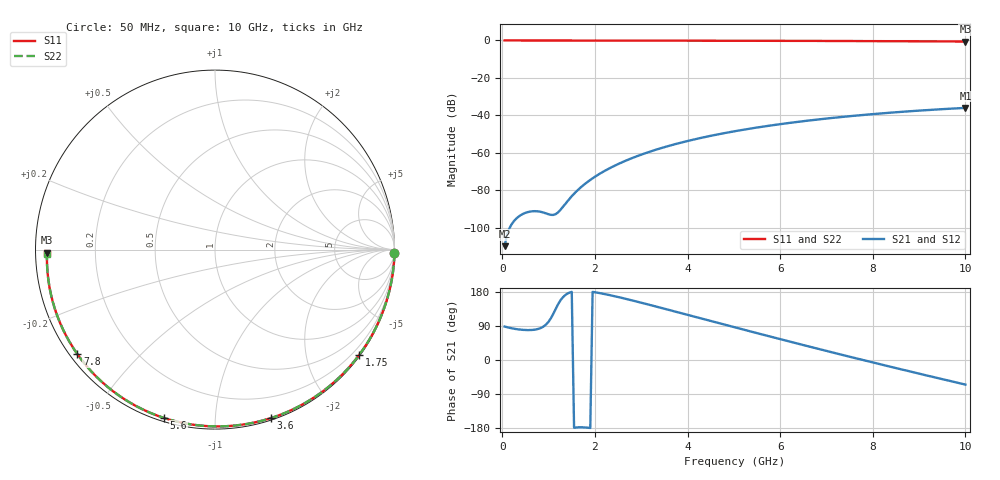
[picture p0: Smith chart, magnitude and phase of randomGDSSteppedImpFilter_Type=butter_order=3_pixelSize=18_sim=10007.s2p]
! freq	dB(S11)	phase(S11)	dB(S12)	phase(S12)
!  dB(S21)	phase(S21)	dB(S22)	phase(S22)
!S-par simulation data
#  GHz  S  DB  R 50
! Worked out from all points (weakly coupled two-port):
!   200 points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, 50 MHz to 10 GHz, reference 50 ohm
!   highest |S21| = -35.98 dB at 10 GHz (marker M1); lowest = -109.8 dB at 50 MHz (marker M2)
!   lowest |S11| = -0.6 dB at 10 GHz (marker M3), VSWR 30.37, Z = 1.65 - j0.48 ohm
!   |S11| at or under -10 dB: nowhere
!   |S22| runs from -0.6 to 0.0 dB; largest |S21 - S12| = 0
!   S11 on the Smith chart (normalised r, x): 50 MHz: open; 1.75 GHz: 0.03, -3.07; 3.6 GHz: 0.02, -1.38; 5.6 GHz: 0.02, -0.74; 7.8 GHz: 0.02, -0.34; 10 GHz: 0.03, -0.01
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0.05  -0.00 -1.1  -109.76 88.3  -109.76 88.3  -0.00 -1.1
0.4  -0.01 -8.4  -93.18 80.0  -93.18 80.0  -0.01 -8.4
0.8  -0.02 -16.7  -91.29 82.9  -91.29 82.9  -0.02 -16.7
1.6  -0.04 -33.0  -80.53 -177.9  -80.53 -177.9  -0.04 -33.0
1.65  -0.04 -34.1  -79.37 -177.6  -79.37 -177.6  -0.04 -34.0
1.75  -0.05 -36.1  -77.23 -177.7  -77.23 -177.7  -0.05 -36.0
2.05  -0.05 -42.1  -71.93 177.7  -71.93 177.7  -0.05 -42.0
2.25  -0.06 -46.0  -69.05 173.0  -69.05 173.0  -0.06 -45.9
2.45  -0.06 -49.9  -66.54 167.6  -66.54 167.6  -0.06 -49.9
2.9  -0.08 -58.6  -61.83 154.3  -61.83 154.3  -0.08 -58.5
3.4  -0.09 -68.1  -57.67 138.6  -57.67 138.6  -0.09 -68.0
3.6  -0.10 -71.8  -56.23 132.1  -56.23 132.1  -0.10 -71.7
4.3  -0.12 -84.5  -51.94 109.5  -51.94 109.5  -0.12 -84.3
5.05  -0.15 -97.6  -48.29 85.3  -48.29 85.3  -0.15 -97.5
5.6  -0.18 -106.9  -46.08 67.7  -46.08 67.7  -0.18 -106.8
6.15  -0.21 -116.1  -44.16 50.4  -44.16 50.4  -0.21 -115.9
6.7  -0.24 -125.1  -42.49 33.2  -42.49 33.2  -0.24 -124.9
7.25  -0.28 -134.0  -41.02 16.3  -41.02 16.3  -0.28 -133.8
7.8  -0.33 -142.8  -39.73 -0.4  -39.73 -0.4  -0.33 -142.6
8.35  -0.38 -151.6  -38.59 -16.9  -38.59 -16.9  -0.38 -151.4
9.2  -0.47 -165.5  -37.10 -41.8  -37.10 -41.8  -0.47 -165.3
10  -0.57 -178.9  -35.98 -64.9  -35.98 -64.9  -0.57 -178.6
